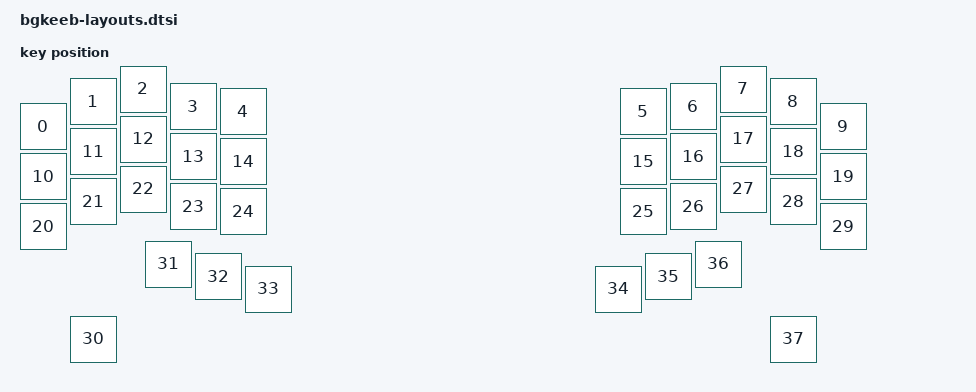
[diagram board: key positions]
#include <physical_layouts.dtsi>

/ {
    physical_layout0: physical_layout_0 {
        compatible = "zmk,physical-layout";
        display-name = "default_layout";
        kscan = <&kscan0>;
        transform = <&default_transform>;
        keys  //                     w   h    x     y     rot   rx   ry
            = <&key_physical_attrs 100 100    0    75      0    0    0>
            , <&key_physical_attrs 100 100  100    25      0    0    0>
            , <&key_physical_attrs 100 100  200     0      0    0    0>
            , <&key_physical_attrs 100 100  300    35      0    0    0>
            , <&key_physical_attrs 100 100  400    45      0    0    0>
            , <&key_physical_attrs 100 100 1200    45      0    0    0>
            , <&key_physical_attrs 100 100 1300    35      0    0    0>
            , <&key_physical_attrs 100 100 1400     0      0    0    0>
            , <&key_physical_attrs 100 100 1500    25      0    0    0>
            , <&key_physical_attrs 100 100 1600    75      0    0    0>
            , <&key_physical_attrs 100 100    0   175      0    0    0>
            , <&key_physical_attrs 100 100  100   125      0    0    0>
            , <&key_physical_attrs 100 100  200   100      0    0    0>
            , <&key_physical_attrs 100 100  300   135      0    0    0>
            , <&key_physical_attrs 100 100  400   145      0    0    0>
            , <&key_physical_attrs 100 100 1200   145      0    0    0>
            , <&key_physical_attrs 100 100 1300   135      0    0    0>
            , <&key_physical_attrs 100 100 1400   100      0    0    0>
            , <&key_physical_attrs 100 100 1500   125      0    0    0>
            , <&key_physical_attrs 100 100 1600   175      0    0    0>
            , <&key_physical_attrs 100 100    0   275      0    0    0>
            , <&key_physical_attrs 100 100  100   225      0    0    0>
            , <&key_physical_attrs 100 100  200   200      0    0    0>
            , <&key_physical_attrs 100 100  300   235      0    0    0>
            , <&key_physical_attrs 100 100  400   245      0    0    0>
            , <&key_physical_attrs 100 100 1200   245      0    0    0>
            , <&key_physical_attrs 100 100 1300   235      0    0    0>
            , <&key_physical_attrs 100 100 1400   200      0    0    0>
            , <&key_physical_attrs 100 100 1500   225      0    0    0>
            , <&key_physical_attrs 100 100 1600   275      0    0    0>
            , <&key_physical_attrs 100 100  100   500      0    0    0>
            , <&key_physical_attrs 100 100  250   350      0    0    0>
            , <&key_physical_attrs 100 100  350   375      0    0    0>
            , <&key_physical_attrs 100 100  450   400      0    0    0>
            , <&key_physical_attrs 100 100 1150   400      0    0    0>
            , <&key_physical_attrs 100 100 1250   375      0    0    0>
            , <&key_physical_attrs 100 100 1350   350      0    0    0>
            , <&key_physical_attrs 100 100 1500   500      0    0    0>
            ;
    };
};
